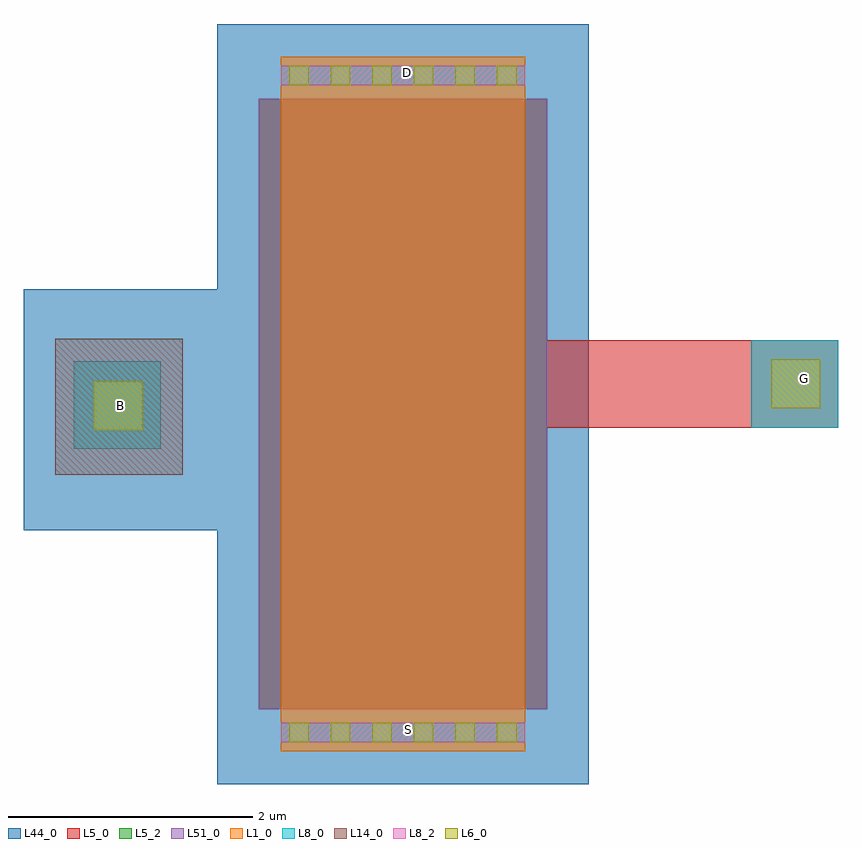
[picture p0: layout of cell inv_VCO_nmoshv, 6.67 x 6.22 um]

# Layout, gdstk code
from math import pi, radians
import gdstk
lib = gdstk.Library(unit=1e-6, precision=1e-09)
def R(c, l, rs):  # rectangles x0, y0, x1, y1
    for r in rs: c.add(gdstk.rectangle(r[:2], r[2:], *l))
def A(c, l, x, y, w, h, nx, ny, dx, dy):  # array of equal rectangles
    R(c, l, [(x+i*dx, y+j*dy, x+i*dx+w, y+j*dy+h) for i in range(nx) for j in range(ny)])
L1_0 = (1, 0)
L5_0 = (5, 0)
L5_2 = (5, 2)
L6_0 = (6, 0)
L8_0 = (8, 0)
L8_2 = (8, 2)
L14_0 = (14, 0)
L44_0 = (44, 0)
L51_0 = (51, 0)

nmoshv = lib.new_cell('nmosHV')
R(nmoshv, L1_0, [(0,0,0.3,0.3), (0,0,5.68,2), (5.38,0,5.68,0.3)])
R(nmoshv, L5_0, [(0.34,-0.18,5.34,2.18)])
R(nmoshv, L5_2, [(0.34,-0.18,5.34,2.18)])
A(nmoshv, L6_0, 0.07, 0.07, 0.16, 0.16, 1, 6, 0, 0.34)
A(nmoshv, L6_0, 5.45, 0.07, 0.16, 0.16, 1, 6, 0, 0.34)
R(nmoshv, L8_0, [(0.07,0,0.23,2), (5.45,0,5.61,2)])
R(nmoshv, L8_2, [(0.07,0,0.23,2), (5.45,0,5.61,2)])
R(nmoshv, L44_0, [(-0.27,-0.52,5.95,2.52)])
R(nmoshv, L51_0, [(0.34,-0.18,5.34,2.18)])
nmoshv.add(gdstk.Label('nmosHV', (2.84,1), layer=63, texttype=0))
nmoshv.add(gdstk.Label('nmosHV', (2.84,1), layer=51, texttype=0))

inv_vco_nmoshv = lib.new_cell('inv_VCO_nmoshv')
R(inv_vco_nmoshv, L5_0, [(1.765,1.86,4.15,2.575)])
R(inv_vco_nmoshv, L6_0, [(-1.945,1.84,-1.545,2.24), (3.6,2.02,4,2.42)])
R(inv_vco_nmoshv, L8_0, [(-2.11,1.69,-1.395,2.405), (3.435,1.86,4.15,2.575)])
R(inv_vco_nmoshv, L14_0, [(-2.26,1.475,-1.215,2.59)])
R(inv_vco_nmoshv, L44_0, [(-2.52,1.02,-0.935,2.995)])
inv_vco_nmoshv.add(gdstk.Reference(nmoshv, (-0.415,4.895), rotation=3*pi/2))
inv_vco_nmoshv.add(gdstk.Label('D', (0.62,4.77), layer=8, texttype=1))
inv_vco_nmoshv.add(gdstk.Label('S', (0.63,-0.605), layer=8, texttype=1))
inv_vco_nmoshv.add(gdstk.Label('B', (-1.73,2.04), layer=8, texttype=1))
inv_vco_nmoshv.add(gdstk.Label('G', (3.87,2.265), layer=8, texttype=1))

lib.write_gds('inv_VCO_nmoshv.gds')
